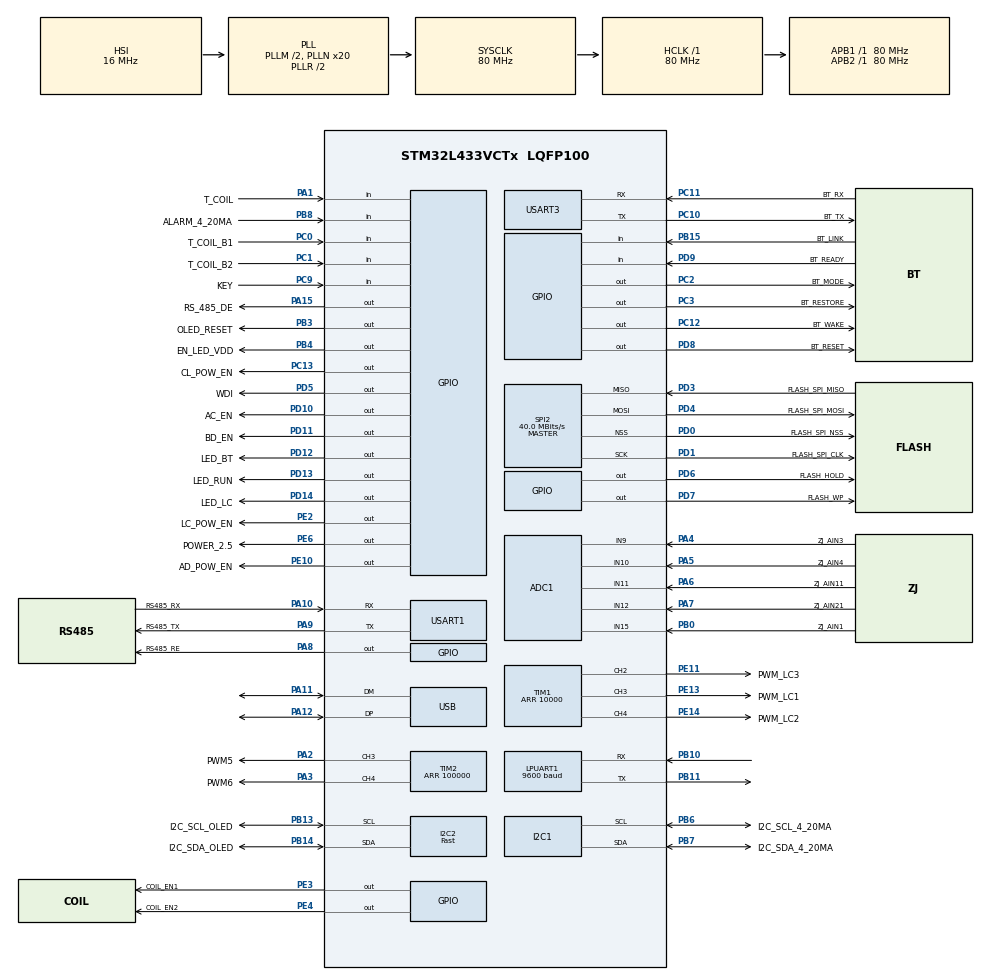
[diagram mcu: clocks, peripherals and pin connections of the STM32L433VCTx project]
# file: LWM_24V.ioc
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ADC1.Channel-0\#ChannelRegularConversion=ADC_CHANNEL_9
ADC1.Channel-1\#ChannelRegularConversion=ADC_CHANNEL_10
ADC1.ContinuousConvMode=ENABLE
ADC1.DMAContinuousRequests=ENABLE
ADC1.EOCSelection=ADC_EOC_SEQ_CONV
ADC1.NbrOfConversion=2
ADC1.NbrOfConversionFlag=1
ADC1.OffsetNumber-0\#ChannelRegularConversion=ADC_OFFSET_NONE
ADC1.OffsetNumber-1\#ChannelRegularConversion=ADC_OFFSET_NONE
ADC1.Rank-0\#ChannelRegularConversion=1
ADC1.Rank-1\#ChannelRegularConversion=2
ADC1.SamplingTime-0\#ChannelRegularConversion=ADC_SAMPLETIME_2CYCLES_5
ADC1.SamplingTime-1\#ChannelRegularConversion=ADC_SAMPLETIME_2CYCLES_5
ADC1.master=1
Dma.ADC1.0.Direction=DMA_PERIPH_TO_MEMORY
Dma.ADC1.0.Instance=DMA1_Channel1
Dma.ADC1.0.MemDataAlignment=DMA_MDATAALIGN_HALFWORD
Dma.ADC1.0.MemInc=DMA_MINC_ENABLE
Dma.ADC1.0.Mode=DMA_CIRCULAR
Dma.ADC1.0.PeriphDataAlignment=DMA_PDATAALIGN_HALFWORD
Dma.ADC1.0.PeriphInc=DMA_PINC_DISABLE
Dma.ADC1.0.Priority=DMA_PRIORITY_HIGH
Dma.Request0=ADC1
Dma.Request1=USART1_RX
Dma.Request2=USART1_TX
Dma.USART1_RX.1.Direction=DMA_PERIPH_TO_MEMORY
Dma.USART1_RX.1.Instance=DMA1_Channel5
Dma.USART1_RX.1.MemDataAlignment=DMA_MDATAALIGN_BYTE
Dma.USART1_RX.1.MemInc=DMA_MINC_ENABLE
Dma.USART1_RX.1.Mode=DMA_CIRCULAR
Dma.USART1_RX.1.PeriphDataAlignment=DMA_PDATAALIGN_BYTE
Dma.USART1_RX.1.PeriphInc=DMA_PINC_DISABLE
Dma.USART1_RX.1.Priority=DMA_PRIORITY_LOW
Dma.USART1_TX.2.Direction=DMA_MEMORY_TO_PERIPH
Dma.USART1_TX.2.Instance=DMA1_Channel4
Dma.USART1_TX.2.MemDataAlignment=DMA_MDATAALIGN_BYTE
Dma.USART1_TX.2.MemInc=DMA_MINC_ENABLE
Dma.USART1_TX.2.Mode=DMA_NORMAL
Dma.USART1_TX.2.PeriphDataAlignment=DMA_PDATAALIGN_BYTE
Dma.USART1_TX.2.PeriphInc=DMA_PINC_DISABLE
Dma.USART1_TX.2.Priority=DMA_PRIORITY_LOW
FREERTOS.BinarySemaphores01=xADCStartSemaphore,Dynamic,NULL,Available;xADCStopSemaphore,Dynamic,NULL,Depleted;xDelayUsSemaphore,Dynamic,NULL,Depleted
FREERTOS.Tasks01=SecondTask,0,512,StartDefaultTask,Default,NULL,Dynamic,NULL,NULL;LC_Task,2,512,LC_Task_Proc,As external,NULL,Dynamic,NULL,NULL;Modbus_Task,-3,512,Modbus_Task_Proc,As external,NULL,Dynamic,NULL,NULL;BT_Task,-3,512,BT_Task_Proc,As external,NULL,Dynamic,NULL,NULL;LCD_Task,-3,512,LCD_Task_Proc,As external,NULL,Dynamic,NULL,NULL;CAL_Task,-3,512,CAL_Task_Proc,As external,NULL,Dynamic,NULL,NULL;Debug_Task,-3,512,Debug_Task_Proc,As external,NULL,Dynamic,NULL,NULL;Adc_Task,-3,512,Adc_Task_Proc,As external,NULL,Dynamic,NULL,NULL
FREERTOS.configTOTAL_HEAP_SIZE=24000
I2C1.Timing=0x00503D58
I2C2.I2C_Speed_Mode=I2C_Fast
I2C2.Speed=400
I2C2.Timing=0x00300617
LPUART1.BaudRate=9600
Mcu.Family=STM32L4
Mcu.Name=STM32L433VCTx
Mcu.Package=LQFP100
NVIC.DMA1_Channel1_IRQn=true\:5\:0\:false\:false\:true\:true\:false\:true\:true
NVIC.DMA1_Channel4_IRQn=true\:5\:0\:false\:false\:true\:true\:false\:true\:true
NVIC.DMA1_Channel5_IRQn=true\:5\:0\:false\:false\:true\:true\:false\:true\:true
NVIC.PriorityGroup=NVIC_PRIORITYGROUP_4
NVIC.TIM2_IRQn=true\:5\:0\:false\:false\:true\:true\:true\:true\:true
NVIC.TIM6_DAC_IRQn=true\:15\:0\:false\:false\:true\:false\:false\:true\:true
NVIC.TIM7_IRQn=true\:5\:0\:false\:false\:true\:true\:true\:true\:true
NVIC.TimeBase=TIM6_DAC_IRQn
NVIC.TimeBaseIP=TIM6
NVIC.USART1_IRQn=true\:5\:0\:false\:false\:true\:true\:true\:true\:true
NVIC.USART3_IRQn=true\:5\:0\:false\:false\:true\:true\:true\:true\:true
NVIC.USB_IRQn=true\:5\:0\:false\:false\:true\:true\:false\:true\:true
PA1.GPIO_Label=T_COIL
PA1.Signal=GPIO_Input
PA10.GPIO_Label=RS485_RX
PA10.Mode=Asynchronous
PA10.Signal=USART1_RX
PA11.Mode=Device
PA11.Signal=USB_DM
PA12.Mode=Device
PA12.Signal=USB_DP
PA13\ (JTMS-SWDIO).Mode=Serial_Wire
PA13\ (JTMS-SWDIO).Signal=SYS_JTMS-SWDIO
PA14\ (JTCK-SWCLK).Mode=Serial_Wire
PA14\ (JTCK-SWCLK).Signal=SYS_JTCK-SWCLK
PA15\ (JTDI).GPIO_Label=RS_485_DE
PA15\ (JTDI).Signal=GPIO_Output
PA2.GPIO_Label=PWM5
PA2.Signal=S_TIM2_CH3
PA3.GPIO_Label=PWM6
PA3.Signal=S_TIM2_CH4
PA4.GPIO_Label=ZJ_AIN3
PA4.Signal=ADCx_IN9
PA5.GPIO_Label=ZJ_AIN4
PA5.Signal=ADCx_IN10
PA6.GPIO_Label=ZJ_AIN11
PA6.Signal=ADCx_IN11
PA7.GPIO_Label=ZJ_AIN21
PA7.Signal=ADCx_IN12
PA8.GPIO_Label=RS485_RE
PA8.Signal=GPIO_Output
PA9.GPIO_Label=RS485_TX
PA9.Mode=Asynchronous
PA9.Signal=USART1_TX
PB0.GPIO_Label=ZJ_AIN1
PB0.Signal=ADCx_IN15
PB10.Mode=Asynchronous
PB10.Signal=LPUART1_RX
PB11.Mode=Asynchronous
PB11.Signal=LPUART1_TX
PB13.GPIO_Label=I2C_SCL_OLED
PB13.Mode=I2C
PB13.Signal=I2C2_SCL
PB14.GPIO_Label=I2C_SDA_OLED
PB14.Mode=I2C
PB14.Signal=I2C2_SDA
PB15.GPIO_Label=BT_LINK
PB15.Signal=GPIO_Input
PB3\ (JTDO-TRACESWO).GPIO_Label=OLED_RESET
PB3\ (JTDO-TRACESWO).Signal=GPIO_Output
PB4\ (NJTRST).GPIO_Label=EN_LED_VDD
PB4\ (NJTRST).Signal=GPIO_Output
PB6.GPIO_Label=I2C_SCL_4_20MA
PB6.Mode=I2C
PB6.Signal=I2C1_SCL
PB7.GPIO_Label=I2C_SDA_4_20MA
PB7.Mode=I2C
PB7.Signal=I2C1_SDA
PB8.GPIO_Label=ALARM_4_20MA
PB8.Signal=GPIO_Input
PC0.GPIO_Label=T_COIL_B1
PC0.Signal=GPIO_Input
PC1.GPIO_Label=T_COIL_B2
PC1.Signal=GPIO_Input
PC10.GPIO_Label=BT_TX
PC10.Mode=Asynchronous
PC10.Signal=USART3_TX
PC11.GPIO_Label=BT_RX
PC11.Mode=Asynchronous
PC11.Signal=USART3_RX
PC12.GPIO_Label=BT_WAKE
PC12.Signal=GPIO_Output
PC13.GPIO_Label=CL_POW_EN
PC13.Signal=GPIO_Output
PC14-OSC32_IN\ (PC14).Mode=LSE-External-Oscillator
PC14-OSC32_IN\ (PC14).Signal=RCC_OSC32_IN
PC15-OSC32_OUT\ (PC15).Mode=LSE-External-Oscillator
PC15-OSC32_OUT\ (PC15).Signal=RCC_OSC32_OUT
PC2.GPIO_Label=BT_MODE
PC2.Signal=GPIO_Output
PC3.GPIO_Label=BT_RESTORE
PC3.Signal=GPIO_Output
PC5.Signal=ADCx_IN14
PC9.GPIO_Label=KEY
PC9.GPIO_PuPd=GPIO_PULLUP
PC9.Signal=GPIO_Input
PD0.GPIO_Label=FLASH_SPI_NSS
PD0.Mode=NSS_Signal_Hard_Output
PD0.Signal=SPI2_NSS
PD1.GPIO_Label=FLASH_SPI_CLK
PD1.Mode=Full_Duplex_Master
PD1.Signal=SPI2_SCK
PD10.GPIO_Label=AC_EN
PD10.Signal=GPIO_Output
PD11.GPIO_Label=BD_EN
PD11.Signal=GPIO_Output
PD12.GPIO_Label=LED_BT
PD12.Signal=GPIO_Output
PD13.GPIO_Label=LED_RUN
PD13.Signal=GPIO_Output
PD14.GPIO_Label=LED_LC
PD14.Signal=GPIO_Output
PD3.GPIO_Label=FLASH_SPI_MISO
PD3.Mode=Full_Duplex_Master
PD3.Signal=SPI2_MISO
PD4.GPIO_Label=FLASH_SPI_MOSI
PD4.Mode=Full_Duplex_Master
PD4.Signal=SPI2_MOSI
PD5.GPIO_Label=WDI
PD5.Signal=GPIO_Output
PD6.GPIO_Label=FLASH_HOLD
PD6.Signal=GPIO_Output
PD7.GPIO_Label=FLASH_WP
PD7.Signal=GPIO_Output
PD8.GPIO_Label=BT_RESET
PD8.Signal=GPIO_Output
PD9.GPIO_Label=BT_READY
PD9.Signal=GPIO_Input
PE10.GPIO_Label=AD_POW_EN
PE10.Signal=GPIO_Output
PE11.GPIO_Label=PWM_LC3
PE11.Signal=S_TIM1_CH2
PE13.GPIO_Label=PWM_LC1
PE13.Signal=S_TIM1_CH3
PE14.GPIO_Label=PWM_LC2
PE14.Signal=S_TIM1_CH4
PE2.GPIO_Label=LC_POW_EN
PE2.Signal=GPIO_Output
PE3.GPIO_Label=COIL_EN1
PE3.Signal=GPIO_Output
PE4.GPIO_Label=COIL_EN2
PE4.Signal=GPIO_Output
PE6.GPIO_Label=POWER_2.5
PE6.Signal=GPIO_Output
ProjectManager.HeapSize=0x400
ProjectManager.StackSize=0x1000
ProjectManager.TargetToolchain=EWARM V8.32
RCC.ADCFreq_Value=14000000
RCC.AHBFreq_Value=80000000
RCC.APB1Freq_Value=80000000
RCC.APB1TimFreq_Value=80000000
RCC.APB2Freq_Value=80000000
RCC.APB2TimFreq_Value=80000000
RCC.CK48CLockSelection=RCC_USBCLKSOURCE_HSI48
RCC.CortexFreq_Value=80000000
RCC.HCLKFreq_Value=80000000
RCC.HSE_VALUE=8000000
RCC.HSI48_VALUE=48000000
RCC.HSI_VALUE=16000000
RCC.I2C1CLockSelection=RCC_I2C1CLKSOURCE_HSI
RCC.I2C2CLockSelection=RCC_I2C2CLKSOURCE_HSI
RCC.LPUART1CLockSelection=RCC_LPUART1CLKSOURCE_LSE
RCC.MSI_VALUE=4000000
RCC.PLLM=2
RCC.PLLN=20
RCC.PLLSAI1N=14
RCC.PLLSAI1R=RCC_PLLR_DIV8
RCC.PLLSourceVirtual=RCC_PLLSOURCE_HSI
RCC.SYSCLKFreq_VALUE=80000000
RCC.SYSCLKSource=RCC_SYSCLKSOURCE_PLLCLK
RCC.USART1CLockSelection=RCC_USART1CLKSOURCE_HSI
RCC.USART3CLockSelection=RCC_USART3CLKSOURCE_HSI
RCC.USBFreq_Value=48000000
RCC.VCOOutputFreq_Value=160000000
SH.ADCx_IN10.0=ADC1_IN10,IN10-Single-Ended
SH.ADCx_IN11.0=ADC1_IN11,IN11-Single-Ended
SH.ADCx_IN12.0=ADC1_IN12,IN12-Single-Ended
SH.ADCx_IN14.0=ADC1_IN14
SH.ADCx_IN15.0=ADC1_IN15,IN15-Single-Ended
SH.ADCx_IN9.0=ADC1_IN9,IN9-Single-Ended
SH.S_TIM1_CH2.0=TIM1_CH2,PWM Generation2 CH2
SH.S_TIM1_CH3.0=TIM1_CH3,PWM Generation3 CH3
SH.S_TIM1_CH4.0=TIM1_CH4,PWM Generation4 CH4
SH.S_TIM2_CH3.0=TIM2_CH3,PWM Generation3 CH3
SH.S_TIM2_CH4.0=TIM2_CH4,PWM Generation4 CH4
SPI2.CalculateBaudRate=40.0 MBits/s
SPI2.Direction=SPI_DIRECTION_2LINES
SPI2.Mode=SPI_MODE_MASTER
SPI2.VirtualNSS=VM_NSSHARD
SPI2.VirtualType=VM_MASTER
TIM1.AutoReloadPreload=TIM_AUTORELOAD_PRELOAD_ENABLE
TIM1.Channel-PWM\ Generation2\ CH2=TIM_CHANNEL_2
TIM1.Channel-PWM\ Generation3\ CH3=TIM_CHANNEL_3
TIM1.Channel-PWM\ Generation4\ CH4=TIM_CHANNEL_4
TIM1.Period=10000
TIM2.AutoReloadPreload=TIM_AUTORELOAD_PRELOAD_ENABLE
TIM2.Channel-PWM\ Generation3\ CH3=TIM_CHANNEL_3
TIM2.Channel-PWM\ Generation4\ CH4=TIM_CHANNEL_4
TIM2.Period=100000
TIM7.Period=99
TIM7.Prescaler=79
USART1.VirtualMode-Asynchronous=VM_ASYNC
USART3.VirtualMode-Asynchronous=VM_ASYNC
USB_DEVICE.CLASS_NAME_FS=CDC
USB_DEVICE.VirtualMode=Cdc
USB_DEVICE.VirtualModeFS=Cdc_FS
VP_FATFS_VS_Generic.Mode=User_defined
VP_FREERTOS_VS_CMSIS_V1.Mode=CMSIS_V1
VP_SYS_VS_tim6.Mode=TIM6
VP_TIM1_VS_ClockSourceINT.Mode=Internal
VP_TIM2_VS_ClockSourceINT.Mode=Internal
VP_TIM7_VS_ClockSourceINT.Mode=Enable_Timer
VP_USB_DEVICE_VS_USB_DEVICE_CDC_FS.Mode=CDC_FS
board=custom

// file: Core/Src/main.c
/* USER CODE BEGIN Header */
/**
  ******************************************************************************
  * @file           : main.c
  * @brief          : Main program body
  ******************************************************************************
  * @attention
  *
  * Copyright (c) 2025 STMicroelectronics.
  * All rights reserved.
  *
  * This software is licensed under terms that can be found in the LICENSE file
  * in the root directory of this software component.
  * If no LICENSE file comes with this software, it is provided AS-IS.
  *
  ******************************************************************************
  */
/* USER CODE END Header */
#include "main.h"
#include "cmsis_os.h"
#include "adc.h"
#include "dma.h"
#include "fatfs.h"
#include "i2c.h"
#include "usart.h"
#include "spi.h"
#include "tim.h"
#include "usb_device.h"
#include "gpio.h"

/* USER CODE BEGIN Includes */
#include  "usbd_cdc_if.h"
/* USER CODE END Includes */

void SystemClock_Config(void);
void MX_FREERTOS_Init(void);

/* USER CODE BEGIN 0 */
static void Init_485_set()
{
  /**
 * @brief  读取通信参数
 * @param  addr: Modbus地址输出
 * @param  baudrate: 波特率输出
 * @param  data_bits: 数据位输出
 * @param  stop_bits: 停止位输出
 * @param  parity: 校验位输出
 * @retval 无
 */
  SHORT addr,baudrate,data_bits,stop_bits,parity;

  emdcb_read_comm_params(&addr, &baudrate, &data_bits, &stop_bits, &parity);

  UART_ReInit(&huart1, baudrate, data_bits, stop_bits, parity);

}
/* USER CODE END 0 */

int main(void)
{

  /* MCU Configuration--------------------------------------------------------*/

  /* Reset of all peripherals, Initializes the Flash interface and the Systick. */
  HAL_Init();

  /* Configure the system clock */
  SystemClock_Config();

  /* Initialize all configured peripherals */
  MX_GPIO_Init();
  MX_DMA_Init();
  MX_FATFS_Init();
  MX_ADC1_Init();
  MX_I2C1_Init();
  MX_I2C2_Init();
  MX_LPUART1_UART_Init();
  MX_USART1_UART_Init();
  MX_USART3_UART_Init();
  MX_SPI2_Init();
  MX_TIM1_Init();
  MX_TIM2_Init();
  MX_TIM7_Init();
  /* USER CODE BEGIN 2 */
  Power_Down_All_Modules(0);

    //初始化参数
   EMCDB_Flash_Init();
   //初始化寄存器表
   init_index_table();

   //设置485设置
  Init_485_set();
  /* USER CODE END 2 */

  /* Call init function for freertos objects (in cmsis_os2.c) */
  MX_FREERTOS_Init();

  /* Start scheduler */
  osKernelStart();

  /* We should never get here as control is now taken by the scheduler */

  /* Infinite loop */
  while (1)
  {

  }
}

void SystemClock_Config(void)
{
  RCC_OscInitTypeDef RCC_OscInitStruct = {0};
  RCC_ClkInitTypeDef RCC_ClkInitStruct = {0};

  /** Configure the main internal regulator output voltage
  */
  if (HAL_PWREx_ControlVoltageScaling(PWR_REGULATOR_VOLTAGE_SCALE1) != HAL_OK)
  {
    Error_Handler();
  }

  /** Configure LSE Drive Capability
  */
  HAL_PWR_EnableBkUpAccess();
  __HAL_RCC_LSEDRIVE_CONFIG(RCC_LSEDRIVE_LOW);

  /** Initializes the RCC Oscillators according to the specified parameters
  * in the RCC_OscInitTypeDef structure.
  */
  RCC_OscInitStruct.OscillatorType = RCC_OSCILLATORTYPE_HSI48|RCC_OSCILLATORTYPE_HSI
                              |RCC_OSCILLATORTYPE_LSE;
  RCC_OscInitStruct.LSEState = RCC_LSE_ON;
  RCC_OscInitStruct.HSIState = RCC_HSI_ON;
  RCC_OscInitStruct.HSI48State = RCC_HSI48_ON;
  RCC_OscInitStruct.HSICalibrationValue = RCC_HSICALIBRATION_DEFAULT;
  RCC_OscInitStruct.PLL.PLLState = RCC_PLL_ON;
  RCC_OscInitStruct.PLL.PLLSource = RCC_PLLSOURCE_HSI;
  RCC_OscInitStruct.PLL.PLLM = 2;
  RCC_OscInitStruct.PLL.PLLN = 20;
  RCC_OscInitStruct.PLL.PLLP = RCC_PLLP_DIV7;
  RCC_OscInitStruct.PLL.PLLQ = RCC_PLLQ_DIV2;
  RCC_OscInitStruct.PLL.PLLR = RCC_PLLR_DIV2;
  if (HAL_RCC_OscConfig(&RCC_OscInitStruct) != HAL_OK)
  {
    Error_Handler();
  }

  /** Initializes the CPU, AHB and APB buses clocks
  */
  RCC_ClkInitStruct.ClockType = RCC_CLOCKTYPE_HCLK|RCC_CLOCKTYPE_SYSCLK
                              |RCC_CLOCKTYPE_PCLK1|RCC_CLOCKTYPE_PCLK2;
  RCC_ClkInitStruct.SYSCLKSource = RCC_SYSCLKSOURCE_PLLCLK;
  RCC_ClkInitStruct.AHBCLKDivider = RCC_SYSCLK_DIV1;
  RCC_ClkInitStruct.APB1CLKDivider = RCC_HCLK_DIV1;
  RCC_ClkInitStruct.APB2CLKDivider = RCC_HCLK_DIV1;

  if (HAL_RCC_ClockConfig(&RCC_ClkInitStruct, FLASH_LATENCY_4) != HAL_OK)
  {
    Error_Handler();
  }
}

/* USER CODE BEGIN 4 */
//初始化所有ADC有关的外设
extern ADC_HandleTypeDef hadc1;
extern TIM_HandleTypeDef htim1;
extern TIM_HandleTypeDef htim2;
void reset_all_per()
{
  stopadc();

/*  HAL_ADC_MspDeInit(&hadc1);
  HAL_TIM_Base_MspDeInit(&htim1);
  HAL_TIM_Base_MspDeInit(&htim2);
  */
  MX_DMA_Init();
  MX_ADC1_Init();
  MX_TIM1_Init();
  MX_TIM2_Init();
}

/* USER CODE END 4 */

void HAL_TIM_PeriodElapsedCallback(TIM_HandleTypeDef *htim)
{
  if (htim->Instance == TIM6)
  {
    HAL_IncTick();
  }
}

void Error_Handler(void)
{
  __disable_irq();
  while (1)
  {
  }
}

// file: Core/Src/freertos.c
/* USER CODE BEGIN Header */
/**
  ******************************************************************************
  * File Name          : freertos.c
  * Description        : Code for freertos applications
  ******************************************************************************
  * @attention
  *
  * Copyright (c) 2025 STMicroelectronics.
  * All rights reserved.
  *
  * This software is licensed under terms that can be found in the LICENSE file
  * in the root directory of this software component.
  * If no LICENSE file comes with this software, it is provided AS-IS.
  *
  ******************************************************************************
  */
/* USER CODE END Header */

#include "FreeRTOS.h"
#include "task.h"
#include "main.h"
#include "cmsis_os.h"

/* USER CODE BEGIN Variables */
QueueHandle_t xADCQueueHandle = NULL;
QueueHandle_t xADC_Stop_QueueHandle = NULL;
QueueHandle_t xADC_Finish_QueueHandle = NULL;
QueueHandle_t xCAL_Finish_QueueHandle = NULL;
QueueHandle_t xLC_ADC_Finish_QueueHandle = NULL; //单次励磁的ADC采样结束

/* 信号量句柄 */
QueueHandle_t xDebugSemaphore = NULL;
QueueHandle_t xRs485Semaphore = NULL;
QueueHandle_t xAdcFinishForFlashSemaphore = NULL;

/* USER CODE END Variables */
osThreadId SecondTaskHandle;
osThreadId LC_TaskHandle;
osThreadId Modbus_TaskHandle;
osThreadId BT_TaskHandle;
osThreadId LCD_TaskHandle;
osThreadId CAL_TaskHandle;
osThreadId Debug_TaskHandle;
osThreadId Adc_TaskHandle;
osSemaphoreId xADCStartSemaphoreHandle;
osSemaphoreId xADCStopSemaphoreHandle;
osSemaphoreId xDelayUsSemaphoreHandle;
// 1. 互斥锁句柄：核心！用于LC和WF任务的互斥访问，防止同时执行
osSemaphoreId xTask_LC_Mutex = NULL;

void StartDefaultTask(void const * argument);
extern void LC_Task_Proc(void const * argument);
extern void Modbus_Task_Proc(void const * argument);
extern void BT_Task_Proc(void const * argument);
extern void LCD_Task_Proc(void const * argument);
extern void CAL_Task_Proc(void const * argument);
extern void Debug_Task_Proc(void const * argument);
extern void Adc_Task_Proc(void const * argument);

extern void MX_USB_DEVICE_Init(void);
void MX_FREERTOS_Init(void); /* (MISRA C 2004 rule 8.1) */

/* GetIdleTaskMemory prototype (linked to static allocation support) */
void vApplicationGetIdleTaskMemory( StaticTask_t **ppxIdleTaskTCBBuffer, StackType_t **ppxIdleTaskStackBuffer, uint32_t *pulIdleTaskStackSize );

/* USER CODE BEGIN GET_IDLE_TASK_MEMORY */
static StaticTask_t xIdleTaskTCBBuffer;
static StackType_t xIdleStack[configMINIMAL_STACK_SIZE];

void vApplicationGetIdleTaskMemory( StaticTask_t **ppxIdleTaskTCBBuffer, StackType_t **ppxIdleTaskStackBuffer, uint32_t *pulIdleTaskStackSize )
{
  *ppxIdleTaskTCBBuffer = &xIdleTaskTCBBuffer;
  *ppxIdleTaskStackBuffer = &xIdleStack[0];
  *pulIdleTaskStackSize = configMINIMAL_STACK_SIZE;
  /* place for user code */
}
/* USER CODE END GET_IDLE_TASK_MEMORY */

void MX_FREERTOS_Init(void) {

  /* Create the semaphores(s) */
  /* definition and creation of xADCStartSemaphore */
  osSemaphoreDef(xADCStartSemaphore);
  xADCStartSemaphoreHandle = osSemaphoreCreate(osSemaphore(xADCStartSemaphore), 1);

  /* definition and creation of xADCStopSemaphore */
  osSemaphoreDef(xADCStopSemaphore);
  xADCStopSemaphoreHandle = osSemaphoreCreate(osSemaphore(xADCStopSemaphore), 1);

  /* definition and creation of xDelayUsSemaphore */
  osSemaphoreDef(xDelayUsSemaphore);
  xDelayUsSemaphoreHandle = osSemaphoreCreate(osSemaphore(xDelayUsSemaphore), 1);

  /* USER CODE BEGIN RTOS_SEMAPHORES */
  /* add semaphores, ... */
      /* 1. ������ֵ�ź�������ʼֵ0�� */
    xADCQueueHandle =  xQueueCreate(1, sizeof(uint8_t)); // ��ֵ�ź�����ʼֵΪ0

    // �򴴽��������ź�������Ч����xSemaphoreCreateCounting(1, 0);
    if (xADCQueueHandle == NULL) {
        // ����ʧ�ܴ���
        Error_Handler();
    }
    //
    xADC_Stop_QueueHandle = xSemaphoreCreateBinary();
    if (xADC_Stop_QueueHandle == NULL) {
        // ����ʧ�ܴ���
        Error_Handler();
    }

    //AD�ɼ�����ź���
    xADC_Finish_QueueHandle= xSemaphoreCreateBinary();
    if (xADC_Finish_QueueHandle == NULL) {
        // ����ʧ�ܴ���
        Error_Handler();
    }

    //cal��������ź���
    xCAL_Finish_QueueHandle= xSemaphoreCreateBinary();
    if (xCAL_Finish_QueueHandle == NULL) {
        // ����ʧ�ܴ���
        Error_Handler();
    }

    xLC_ADC_Finish_QueueHandle= xSemaphoreCreateBinary();
    if (xLC_ADC_Finish_QueueHandle == NULL) {
        // ����ʧ�ܴ���
        Error_Handler();
    }

    /* 创建二值信号量 */
    xDebugSemaphore = xSemaphoreCreateBinary();
    if (xDebugSemaphore == NULL)
    {
      // 信号量创建失败，错误处理（如点亮LED报警）
      Error_Handler();
    }
    xRs485Semaphore = xSemaphoreCreateBinary();
    if (xRs485Semaphore == NULL)
    {
      // 信号量创建失败，错误处理（如点亮LED报警）
      Error_Handler();
    }

    xAdcFinishForFlashSemaphore = xSemaphoreCreateBinary();
    if (xAdcFinishForFlashSemaphore == NULL)
    {
      // 信号量创建失败，错误处理（如点亮LED报警）
      Error_Handler();
    }

    xTask_LC_Mutex = xSemaphoreCreateMutex();
    if (xTask_LC_Mutex == NULL)
    {
      // 信号量创建失败，错误处理（如点亮LED报警）
      Error_Handler();
    }

  /* USER CODE END RTOS_SEMAPHORES */

  /* Create the thread(s) */
  /* definition and creation of SecondTask */
  osThreadDef(SecondTask, StartDefaultTask, osPriorityNormal, 0, 512);
  SecondTaskHandle = osThreadCreate(osThread(SecondTask), NULL);

  /* definition and creation of LC_Task */
  osThreadDef(LC_Task, LC_Task_Proc, osPriorityHigh, 0, 512);
  LC_TaskHandle = osThreadCreate(osThread(LC_Task), NULL);

  /* definition and creation of Modbus_Task */
  osThreadDef(Modbus_Task, Modbus_Task_Proc, osPriorityIdle, 0, 512);
  Modbus_TaskHandle = osThreadCreate(osThread(Modbus_Task), NULL);

  /* definition and creation of BT_Task */
  osThreadDef(BT_Task, BT_Task_Proc, osPriorityIdle, 0, 512);
  BT_TaskHandle = osThreadCreate(osThread(BT_Task), NULL);

  /* definition and creation of LCD_Task */
  osThreadDef(LCD_Task, LCD_Task_Proc, osPriorityIdle, 0, 512);
  LCD_TaskHandle = osThreadCreate(osThread(LCD_Task), NULL);

  /* definition and creation of CAL_Task */
  osThreadDef(CAL_Task, CAL_Task_Proc, osPriorityIdle, 0, 512);
  CAL_TaskHandle = osThreadCreate(osThread(CAL_Task), NULL);

  /* definition and creation of Debug_Task */
  osThreadDef(Debug_Task, Debug_Task_Proc, osPriorityIdle, 0, 512);
  Debug_TaskHandle = osThreadCreate(osThread(Debug_Task), NULL);

  /* definition and creation of Adc_Task */
  osThreadDef(Adc_Task, Adc_Task_Proc, osPriorityIdle, 0, 512);
  Adc_TaskHandle = osThreadCreate(osThread(Adc_Task), NULL);

}

void StartDefaultTask(void const * argument)
{
  /* init code for USB_DEVICE */
  MX_USB_DEVICE_Init();
  /* USER CODE BEGIN StartDefaultTask */
  /* Infinite loop */
  for(;;)
  {
   // dprintf("hello\r");
    LED_RUN_Toggle();
    osDelay(100);
  }
  /* USER CODE END StartDefaultTask */
}
